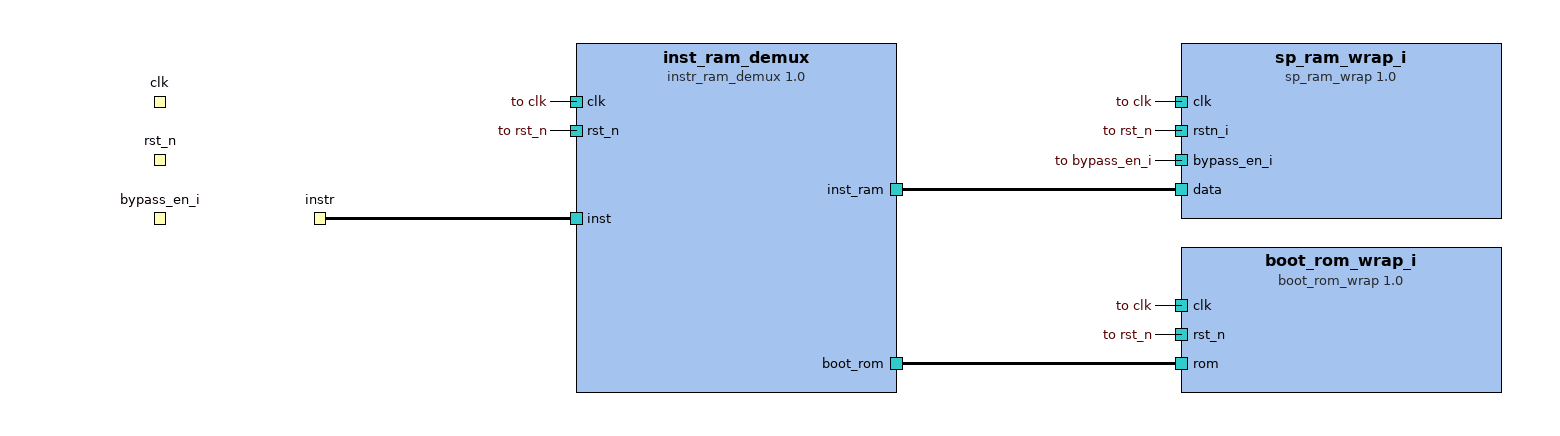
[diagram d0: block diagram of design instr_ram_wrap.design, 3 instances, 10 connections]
<?xml version="1.0" encoding="UTF-8"?>
<ipxact:design xmlns:xsi="http://www.w3.org/2001/XMLSchema-instance" xmlns:ipxact="http://www.accellera.org/XMLSchema/IPXACT/1685-2014" xmlns:kactus2="http://kactus2.cs.tut.fi" xsi:schemaLocation="http://www.accellera.org/XMLSchema/IPXACT/1685-2014 http://www.accellera.org/XMLSchema/IPXACT/1685-2014/index.xsd"><ipxact:vendor>pulp-platform.org</ipxact:vendor><ipxact:library>core.wrapper</ipxact:library>
 <ipxact:name>instr_ram_wrap.design</ipxact:name><ipxact:version>1.0</ipxact:version><ipxact:componentInstances>
 <ipxact:componentInstance><ipxact:instanceName>sp_ram_wrap_i</ipxact:instanceName>
  <ipxact:componentRef vendor="pulp-platform.org" library="core.wrapper" name="sp_ram_wrap" version="1.0"><ipxact:configurableElementValues><ipxact:configurableElementValue referenceId="uuid_574169f1_1ee0_4446_b5b1_0ef422182198">uuid_1db8011e_47a6_4c90_8441_c31681eed6af</ipxact:configurableElementValue><ipxact:configurableElementValue referenceId="uuid_dedf6673_3402_4d4f_bf3a_24a952b25929">uuid_4bd89e1f_bc7b_478f_ac3b_885627b67836</ipxact:configurableElementValue></ipxact:configurableElementValues></ipxact:componentRef>
 </ipxact:componentInstance>
 <ipxact:componentInstance><ipxact:instanceName>boot_rom_wrap_i</ipxact:instanceName>
  <ipxact:componentRef vendor="pulp-platform.org" library="core.wrapper" name="boot_rom_wrap" version="1.0"><ipxact:configurableElementValues><ipxact:configurableElementValue referenceId="uuid_1d0d4b12_270d_4da4_a035_b70094012711">uuid_4bd89e1f_bc7b_478f_ac3b_885627b67836</ipxact:configurableElementValue></ipxact:configurableElementValues></ipxact:componentRef>
 </ipxact:componentInstance>
 <ipxact:componentInstance><ipxact:instanceName>inst_ram_demux</ipxact:instanceName>
  <ipxact:componentRef vendor="pulp-platform.org" library="core.logic" name="instr_ram_demux" version="1.0"><ipxact:configurableElementValues><ipxact:configurableElementValue referenceId="uuid_b6572b7f_311f_429f_8eda_4a8934f6167f">uuid_1db8011e_47a6_4c90_8441_c31681eed6af</ipxact:configurableElementValue><ipxact:configurableElementValue referenceId="uuid_ab049157_221e_4953_bc43_03690ecbf0e6">uuid_3b2d2abe_b5de_4145_901b_ed2eb6715e26</ipxact:configurableElementValue></ipxact:configurableElementValues></ipxact:componentRef>
 </ipxact:componentInstance>
</ipxact:componentInstances><ipxact:interconnections>
 <ipxact:interconnection><ipxact:name>inst_ram_demux_inst_to_instr</ipxact:name><ipxact:activeInterface componentRef="inst_ram_demux" busRef="inst"/><ipxact:hierInterface busRef="instr"/></ipxact:interconnection>
 <ipxact:interconnection><ipxact:name>sp_ram_wrap_i_data_to_inst_ram_demux_inst_ram</ipxact:name><ipxact:activeInterface componentRef="sp_ram_wrap_i" busRef="data"/><ipxact:activeInterface componentRef="inst_ram_demux" busRef="inst_ram"/></ipxact:interconnection>
 <ipxact:interconnection><ipxact:name>boot_rom_wrap_i_rom_to_inst_ram_demux_boot_rom</ipxact:name><ipxact:activeInterface componentRef="boot_rom_wrap_i" busRef="rom"/><ipxact:activeInterface componentRef="inst_ram_demux" busRef="boot_rom"/></ipxact:interconnection>
</ipxact:interconnections><ipxact:adHocConnections>
 <ipxact:adHocConnection><ipxact:name>sp_ram_wrap_i_clk_to_clk</ipxact:name><ipxact:portReferences><ipxact:internalPortReference componentRef="sp_ram_wrap_i" portRef="clk"/><ipxact:externalPortReference portRef="clk"/></ipxact:portReferences></ipxact:adHocConnection>
 <ipxact:adHocConnection><ipxact:name>boot_rom_wrap_i_clk_to_clk</ipxact:name><ipxact:portReferences><ipxact:internalPortReference componentRef="boot_rom_wrap_i" portRef="clk"/><ipxact:externalPortReference portRef="clk"/></ipxact:portReferences></ipxact:adHocConnection>
 <ipxact:adHocConnection><ipxact:name>sp_ram_wrap_i_rstn_i_to_rst_n</ipxact:name><ipxact:portReferences><ipxact:internalPortReference componentRef="sp_ram_wrap_i" portRef="rstn_i"/><ipxact:externalPortReference portRef="rst_n"/></ipxact:portReferences></ipxact:adHocConnection>
 <ipxact:adHocConnection><ipxact:name>boot_rom_wrap_i_rst_n_to_rst_n</ipxact:name><ipxact:portReferences><ipxact:internalPortReference componentRef="boot_rom_wrap_i" portRef="rst_n"/><ipxact:externalPortReference portRef="rst_n"/></ipxact:portReferences></ipxact:adHocConnection>
 <ipxact:adHocConnection><ipxact:name>sp_ram_wrap_i_bypass_en_i_to_bypass_en_i</ipxact:name><ipxact:portReferences><ipxact:internalPortReference componentRef="sp_ram_wrap_i" portRef="bypass_en_i"/><ipxact:externalPortReference portRef="bypass_en_i"/></ipxact:portReferences></ipxact:adHocConnection>
 <ipxact:adHocConnection><ipxact:name>inst_ram_demux_clk_to_clk</ipxact:name><ipxact:portReferences><ipxact:internalPortReference componentRef="inst_ram_demux" portRef="clk"/><ipxact:externalPortReference portRef="clk"/></ipxact:portReferences></ipxact:adHocConnection>
 <ipxact:adHocConnection><ipxact:name>inst_ram_demux_rst_n_to_rst_n</ipxact:name><ipxact:portReferences><ipxact:internalPortReference componentRef="inst_ram_demux" portRef="rst_n"/><ipxact:externalPortReference portRef="rst_n"/></ipxact:portReferences></ipxact:adHocConnection>
</ipxact:adHocConnections><ipxact:parameters>
 <ipxact:parameter kactus2:usageCount="3" parameterId="uuid_1db8011e_47a6_4c90_8441_c31681eed6af" resolve="user"><ipxact:name>RAM_SIZE</ipxact:name><ipxact:value>32768</ipxact:value></ipxact:parameter>
 <ipxact:parameter kactus2:usageCount="2" parameterId="uuid_4bd89e1f_bc7b_478f_ac3b_885627b67836" resolve="user"><ipxact:name>DATA_WIDTH</ipxact:name><ipxact:value>32</ipxact:value></ipxact:parameter>
 <ipxact:parameter kactus2:usageCount="1" parameterId="uuid_3b2d2abe_b5de_4145_901b_ed2eb6715e26" resolve="user"><ipxact:name>ADDR_WIDTH</ipxact:name><ipxact:value>$clog2(uuid_1db8011e_47a6_4c90_8441_c31681eed6af)</ipxact:value></ipxact:parameter>
</ipxact:parameters></ipxact:design>

